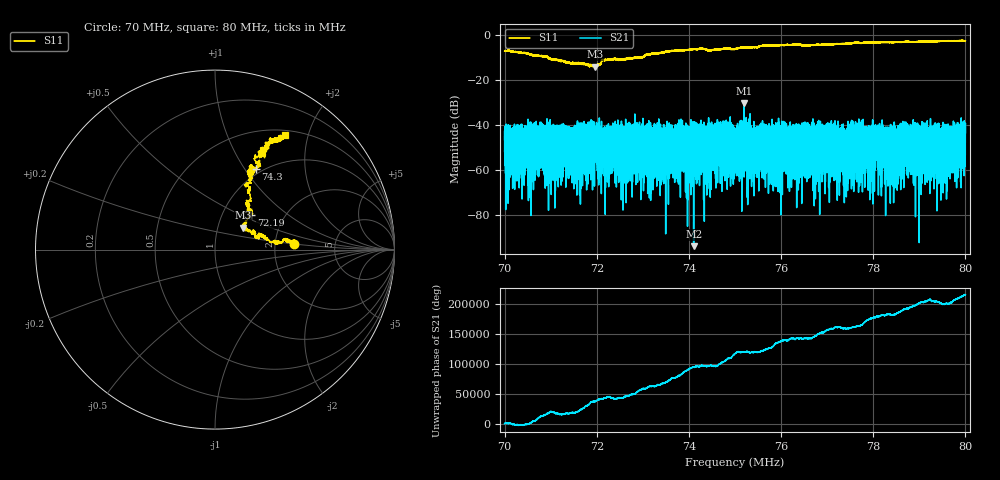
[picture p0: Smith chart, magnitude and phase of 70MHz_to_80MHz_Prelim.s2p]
# HZ S RI R 50
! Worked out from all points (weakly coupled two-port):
!   20200 points, 70 MHz to 80 MHz, reference 50 ohm
!   highest |S21| = -30.43 dB at 75.2 MHz (marker M1); lowest = -94.1 dB at 74.1 MHz (marker M2)
!   lowest |S11| = -14.1 dB at 71.96 MHz (marker M3), VSWR 1.49, Z = 66 + j16.7 ohm
!   |S11| at or under -10 dB: 70.97 MHz to 72.69 MHz (1.72 MHz wide, 2.39 % of centre); 72.69086 MHz to 72.71694 MHz (26.08 kHz wide, 0.0359 % of centre); 72.73144 MHz to 72.79411 MHz (62.68 kHz wide, 0.0861 % of centre)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
!   S12 and S22 are empty: the file has one direction only
!   S11 on the Smith chart (normalised r, x): 70 MHz: 2.56, +0.20; 72.19 MHz: 1.37, +0.57; 74.3 MHz: 0.93, +1.12; 80 MHz: 0.56, +1.65
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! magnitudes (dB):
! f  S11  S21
! 70 MHz  -7.1  -46.5
! 71.21 MHz  -11.5  -50.8
! 71.67 MHz  -13.1  -55.3
! 71.96 MHz  -14.1  -48.2
! 72.19 MHz  -11.1  -43.4
! 72.88 MHz  -9.9  -45.3
! 73.21 MHz  -8.2  -41.8
! 73.33 MHz  -7.9  -47.4
! 73.45 MHz  -7.9  -43.7
! 73.87 MHz  -6.9  -40.3
! 74.1 MHz  -6.2  -94.1
! 74.3 MHz  -6.0  -48.0
! 74.84 MHz  -5.8  -46.6
! 75 MHz  -6.2  -48.5
! 75.2 MHz  -5.6  -30.4
! 76.05 MHz  -4.4  -44.2
! 76.36 MHz  -4.1  -58.1
! 76.67 MHz  -4.4  -50.0
! 78.33 MHz  -3.1  -52.0
! 79.6 MHz  -2.7  -45.7
! 79.95 MHz  -2.5  -45.6
! 80 MHz  -2.4  -43.5
